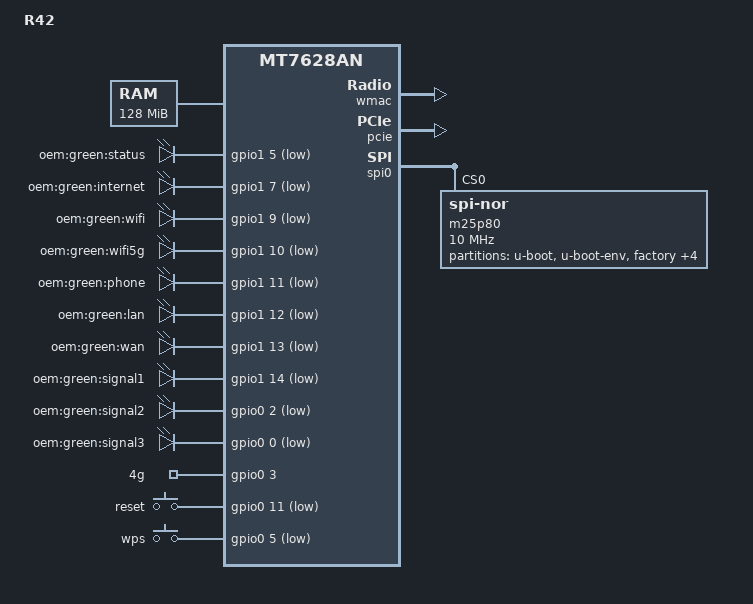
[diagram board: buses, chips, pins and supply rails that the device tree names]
/dts-v1/;

#include "mt7628an.dtsi"

#include <dt-bindings/input/input.h>
#include <dt-bindings/gpio/gpio.h>

/ {
	compatible = "OEM,MT7628", "mediatek,mt7628an-soc";
	model = "R42";

	chosen {
		bootargs = "console=ttyS0,115200";
	};

	memory@0 {
		device_type = "memory";
		reg = <0x0 0x8000000>;
	};

	gpio-leds {
		compatible = "gpio-leds";
		status {
			label = "oem:green:status";
			gpios = <&gpio1 5 GPIO_ACTIVE_LOW>;
		};

		internet {
			label = "oem:green:internet";
			gpios = <&gpio1 7 GPIO_ACTIVE_LOW>;
		};

		wifi {
			label = "oem:green:wifi";
			gpios = <&gpio1 9 GPIO_ACTIVE_LOW>;
		};

		wifi5g {
			label = "oem:green:wifi5g";
			gpios = <&gpio1 10 GPIO_ACTIVE_LOW>;
		};

		phone {
			label = "oem:green:phone";
			gpios = <&gpio1 11 GPIO_ACTIVE_LOW>;
		};

		lan {
			label = "oem:green:lan";
			gpios = <&gpio1 12 GPIO_ACTIVE_LOW>;
		};

		wan {
			label = "oem:green:wan";
			gpios = <&gpio1 13 GPIO_ACTIVE_LOW>;
		};

		signal1 {
			label = "oem:green:signal1";
			gpios = <&gpio1 14 GPIO_ACTIVE_LOW>;
		};

		signal2 {
			label = "oem:green:signal2";
			gpios = <&gpio0 2 GPIO_ACTIVE_LOW>;
		};

		signal3 {
			label = "oem:green:signal3";
			gpios = <&gpio0 0 GPIO_ACTIVE_LOW>;
		};
	};

	gpio_export {
		compatible = "gpio-export";
		#size-cells = <0>;

		usb4g {
			gpio-export,name = "4g";
			gpio-export,output = <0>;
			gpios = <&gpio0 3 GPIO_ACTIVE_HIGH>;
		};
	};

	gpio-keys-polled {
		compatible = "gpio-keys-polled";
		#address-cells = <1>;
		#size-cells = <0>;
		poll-interval = <20>;
		reset {
			label = "reset";
			gpios = <&gpio0 11 GPIO_ACTIVE_LOW>;
			linux,code = <KEY_RESTART>;
		};

		wps {
			label = "wps";
			gpios = <&gpio0 5 GPIO_ACTIVE_LOW>;
			linux,code = <KEY_WPS_BUTTON>;
		};
	};
};

&ethernet {
	mtd-mac-address = <&bdinfo 0xDE00>;
	mediatek,port-map = "lllwl";
};

&pinctrl {
	state_default: pinctrl0 {
		gpio {
			ralink,group = "refclk", "wled_an", "gpio", "spi cs1";
			ralink,function = "gpio";
		};
	};
};

&wmac {
	status = "okay";
};

&pcie {
	status = "okay";
};

&spi0 {
	status = "okay";

	m25p80@0 {
		#address-cells = <1>;
		#size-cells = <1>;
		compatible = "jedec,spi-nor";
		reg = <0>;
		spi-max-frequency = <10000000>;
		m25p,chunked-io = <32>;

		partition@0 {
			label = "u-boot";
			reg = <0x0 0x30000>;
		};

		partition@30000 {
			label = "u-boot-env";
			reg = <0x30000 0x10000>;
		};

		factory: partition@40000 {
			label = "factory";
			reg = <0x40000 0x10000>;
		};

		debug: partition@fd0000 {
			label = "debug";
			reg = <0xfd0000 0x10000>;
		};

		backup: partition@fe0000 {
			label = "backup";
			reg = <0xfe0000 0x10000>;
		};

		bdinfo: partition@ff0000 {
			label = "bdinfo";
			reg = <0xff0000 0x10000>;
		};

		partition@50000 {
			label = "firmware";
			reg = <0x50000 0xf80000>;
		};
	};
};
